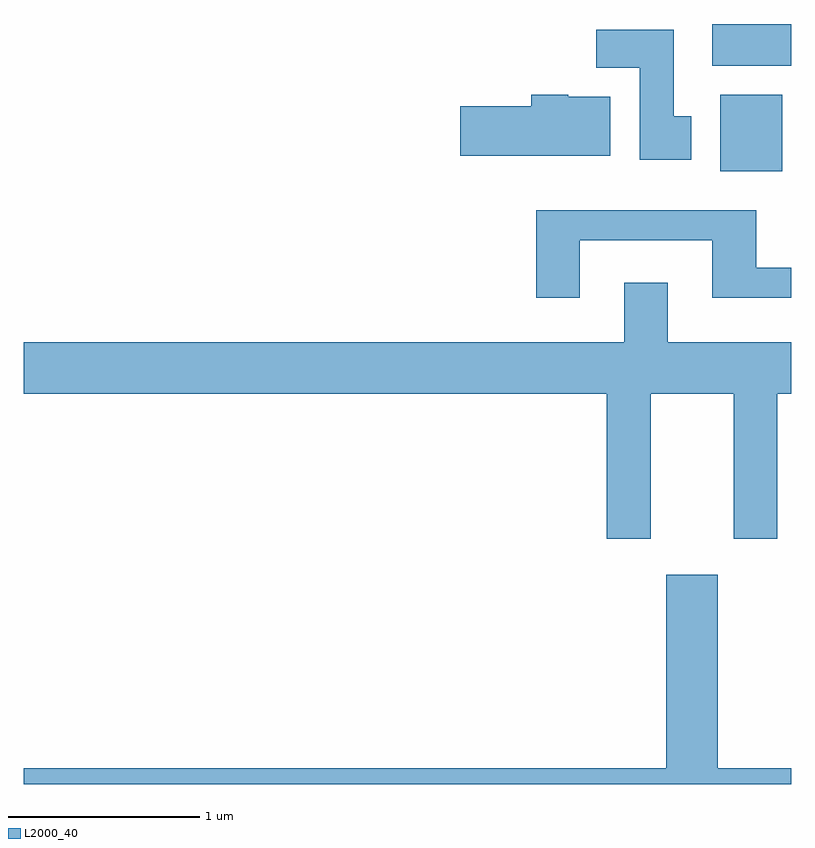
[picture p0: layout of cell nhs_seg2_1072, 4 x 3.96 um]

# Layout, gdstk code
import gdstk
lib = gdstk.Library(unit=1e-6, precision=1e-09)
def R(c, l, rs):  # rectangles x0, y0, x1, y1
    for r in rs: c.add(gdstk.rectangle(r[:2], r[2:], *l))
def P(c, l, *ps):  # polygons
    for p in ps: c.add(gdstk.Polygon(p, *l))
L2000_40 = (2000, 40)

nhs_seg2_1072 = lib.new_cell('nhs_seg2_1072')
R(nhs_seg2_1072, L2000_40, [(219.241,1084.996,219.564,1085.394), (219.201,1085.546,219.611,1085.764)])
P(nhs_seg2_1072, L2000_40, [(219.089,1085.284),(218.999,1085.284),(218.999,1085.734),(218.596,1085.734),(218.596,1085.536),(218.821,1085.536),(218.821,1085.056),(219.089,1085.056)],
  [(218.669,1085.384),(218.45,1085.384),(218.45,1085.394),(218.256,1085.394),(218.256,1085.334),(217.886,1085.334),(217.886,1085.076),(218.669,1085.076)],
  [(218.509,1084.636),(219.201,1084.636),(219.201,1084.336),(219.611,1084.336),(219.611,1084.494),(219.429,1084.494),(219.429,1084.794),(218.281,1084.794),(218.281,1084.336),(218.509,1084.336)],
  [(218.879,1083.836),(219.311,1083.836),(219.311,1083.081),(219.539,1083.081),(219.539,1083.836),(219.611,1083.836),(219.611,1084.104),(218.969,1084.104),(218.969,1084.414),(218.741,1084.414),(218.741,1084.104),(215.611,1084.104),(215.611,1083.836),(218.651,1083.836),(218.651,1083.081),(218.879,1083.081)],
  [(219.611,1081.884),(219.229,1081.884),(219.229,1082.894),(218.961,1082.894),(218.961,1081.884),(215.611,1081.884),(215.611,1081.802),(219.611,1081.802)])

lib.write_gds('nhs_seg2_1072.gds')
